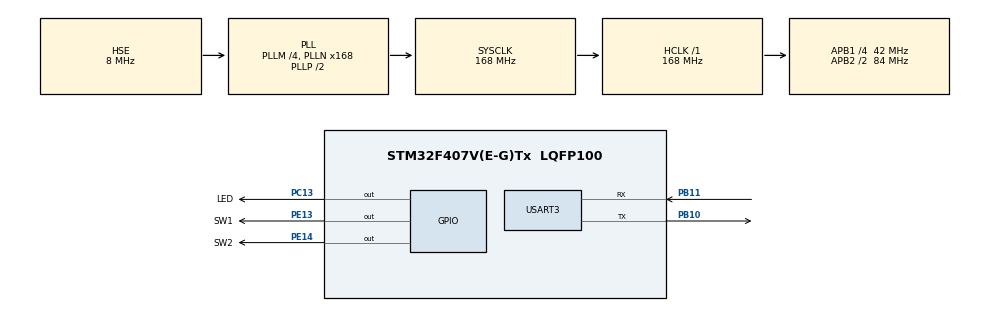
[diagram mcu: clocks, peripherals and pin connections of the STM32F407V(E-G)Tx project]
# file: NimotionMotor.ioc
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Mcu.Family=STM32F4
Mcu.Name=STM32F407V(E-G)Tx
Mcu.Package=LQFP100
NVIC.PriorityGroup=NVIC_PRIORITYGROUP_4
NVIC.TIM6_DAC_IRQn=true\:3\:0\:true\:false\:true\:true\:true\:true
NVIC.TIM7_IRQn=true\:2\:0\:true\:false\:true\:true\:true\:true
NVIC.USART3_IRQn=true\:1\:0\:true\:false\:true\:true\:true\:true
PA13.Mode=Serial_Wire
PA13.Signal=SYS_JTMS-SWDIO
PA14.Mode=Serial_Wire
PA14.Signal=SYS_JTCK-SWCLK
PB10.Mode=Asynchronous
PB10.Signal=USART3_TX
PB11.Mode=Asynchronous
PB11.Signal=USART3_RX
PC13-ANTI_TAMP.GPIO_Label=LED
PC13-ANTI_TAMP.GPIO_PuPd=GPIO_PULLUP
PC13-ANTI_TAMP.Signal=GPIO_Output
PE13.GPIO_Label=SW1
PE13.GPIO_PuPd=GPIO_PULLUP
PE13.Signal=GPIO_Output
PE14.GPIO_Label=SW2
PE14.GPIO_PuPd=GPIO_PULLUP
PE14.Signal=GPIO_Output
PH0-OSC_IN.Mode=HSE-External-Oscillator
PH0-OSC_IN.Signal=RCC_OSC_IN
PH1-OSC_OUT.Mode=HSE-External-Oscillator
PH1-OSC_OUT.Signal=RCC_OSC_OUT
ProjectManager.HeapSize=0x200
ProjectManager.StackSize=0x400
ProjectManager.TargetToolchain=MDK-ARM V5.32
RCC.48MHZClocksFreq_Value=84000000
RCC.AHBFreq_Value=168000000
RCC.APB1CLKDivider=RCC_HCLK_DIV4
RCC.APB1Freq_Value=42000000
RCC.APB1TimFreq_Value=84000000
RCC.APB2CLKDivider=RCC_HCLK_DIV2
RCC.APB2Freq_Value=84000000
RCC.APB2TimFreq_Value=168000000
RCC.CortexFreq_Value=168000000
RCC.HCLKFreq_Value=168000000
RCC.HSE_VALUE=8000000
RCC.HSI_VALUE=16000000
RCC.LSE_VALUE=32768
RCC.PLLM=4
RCC.PLLN=168
RCC.PLLSourceVirtual=RCC_PLLSOURCE_HSE
RCC.SYSCLKFreq_VALUE=168000000
RCC.SYSCLKSource=RCC_SYSCLKSOURCE_PLLCLK
RCC.VCOOutputFreq_Value=336000000
TIM6.AutoReloadPreload=TIM_AUTORELOAD_PRELOAD_ENABLE
TIM6.Period=1000-1
TIM6.Prescaler=84-1
TIM7.AutoReloadPreload=TIM_AUTORELOAD_PRELOAD_ENABLE
TIM7.Period=2000-1
TIM7.Prescaler=84-1
USART3.VirtualMode=VM_ASYNC
VP_TIM6_VS_ClockSourceINT.Mode=Enable_Timer
VP_TIM7_VS_ClockSourceINT.Mode=Enable_Timer
board=custom

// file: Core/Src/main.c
/* USER CODE BEGIN Header */
/**
  ******************************************************************************
  * @file           : main.c
  * @brief          : Main program body
  ******************************************************************************
  * @attention
  *
  * Copyright (c) 2023 STMicroelectronics.
  * All rights reserved.
  *
  * This software is licensed under terms that can be found in the LICENSE file
  * in the root directory of this software component.
  * If no LICENSE file comes with this software, it is provided AS-IS.
  *
  ******************************************************************************
  */
/* USER CODE END Header */
#include "main.h"
#include "tim.h"
#include "usart.h"
#include "gpio.h"

/* USER CODE BEGIN Includes */
#include "delay.h"
#include "modbus.h"
#include "nimotion.h"
#include "led.h"
/* USER CODE END Includes */

/* USER CODE BEGIN PV */
uint8_t uart3_res;
uint8_t error =0;
/* USER CODE END PV */

void SystemClock_Config(void);

int main(void)
{

  /* MCU Configuration--------------------------------------------------------*/

  /* Reset of all peripherals, Initializes the Flash interface and the Systick. */
  HAL_Init();

  /* Configure the system clock */
  SystemClock_Config();

  /* USER CODE BEGIN SysInit */
	delay_init(168);
  /* USER CODE END SysInit */

  /* Initialize all configured peripherals */
  MX_GPIO_Init();
  MX_USART3_UART_Init();
  MX_TIM6_Init();
  MX_TIM7_Init();
  /* USER CODE BEGIN 2 */
	HAL_TIM_Base_Start_IT(&htim6);
	HAL_TIM_Base_Start_IT(&htim7);
	HAL_UART_Receive_IT(&huart3,&uart3_res,1);
  /* USER CODE END 2 */

  /* Infinite loop */
  /* USER CODE BEGIN WHILE */
	uint16_t temp = 0;

	int32_t tagvelocity = 0;
	uint8_t nAddr = 0x03;
	NiM_clearErrorState(nAddr);            //故障状态清除
	NiM_clearErrorState(nAddr+1);
	delay_ms(10);
	NiM_powerOff(nAddr);
	NiM_powerOff(nAddr+1);
	delay_ms(10);

	error = NiM_changeWorkMode(nAddr,VELOCITY_MODE);////设置为速度模式
	error = NiM_changeWorkMode(nAddr+1,VELOCITY_MODE);////设置为速度模式
	delay_ms(50);

	delay_ms(10);
	error = NiM_powerOn(nAddr);
	error = NiM_powerOn(nAddr+1);
	delay_ms(10);	//使能电机
	tagvelocity = 100;//100000/10000*60=600rpm
	error = NiM_moveVelocity(nAddr,tagvelocity);//电机以600rpm正转.
	NiM_moveVelocity(nAddr+1,tagvelocity);//电机以600rpm正转
	delay_ms(1000);
	delay_ms(1000);
	delay_ms(1000);
	delay_ms(1000);
	delay_ms(1000);
	tagvelocity = -100;//-600rpm
	NiM_moveVelocity(nAddr,tagvelocity);//电机以600rpm反转
	NiM_moveVelocity(nAddr+1,tagvelocity);//电机以600rpm正转
	delay_ms(1000);
	delay_ms(1000);
	delay_ms(1000);
	delay_ms(1000);
	delay_ms(1000);
	tagvelocity = 500;//1200rpm
	NiM_moveVelocity(nAddr,tagvelocity);//电机正1200rpm正转
	NiM_moveVelocity(nAddr+1,tagvelocity);//电机以600rpm正转

	delay_ms(1000);
	NiM_moveVelocity(nAddr,0);//电机正1200rpm正转
	NiM_powerOff(nAddr);
	NiM_moveVelocity(nAddr+1,0);//电机正1200rpm正转
	NiM_powerOff(nAddr+1);
//	uint8_t error;
//	NiM_powerOff(nAddr);
//	temp = 0x06;
//	//601 2B 40 60 00 06 00 00 00  使电机准备
//	error = NiM_writeParam(nAddr,0x51,(uint8_t *)&temp,2);
//	if (error !=0)
//		return error;
//	temp = 0x07;
//	//601 2B 40 60 00 07 00 00 00 使电机失能
//	error = NiM_writeParam(nAddr,0x51,(uint8_t *)(&temp),2);
//	if (error !=0)
//		return error;
//	temp = 0x0F;
//	//601 2B 40 60 00 0F 00 00 00 使电机使能
//	error = NiM_writeParam(nAddr,0x51,(uint8_t *)(&temp),2);
//	if (error !=0)
//		return error;
  while (1)
  {
    /* USER CODE END WHILE */

    /* USER CODE BEGIN 3 */
//		Led_Flash(2);
//		delay_ms(200);
  }
  /* USER CODE END 3 */
}

void SystemClock_Config(void)
{
  RCC_OscInitTypeDef RCC_OscInitStruct = {0};
  RCC_ClkInitTypeDef RCC_ClkInitStruct = {0};

  /** Configure the main internal regulator output voltage
  */
  __HAL_RCC_PWR_CLK_ENABLE();
  __HAL_PWR_VOLTAGESCALING_CONFIG(PWR_REGULATOR_VOLTAGE_SCALE1);

  /** Initializes the RCC Oscillators according to the specified parameters
  * in the RCC_OscInitTypeDef structure.
  */
  RCC_OscInitStruct.OscillatorType = RCC_OSCILLATORTYPE_HSE;
  RCC_OscInitStruct.HSEState = RCC_HSE_ON;
  RCC_OscInitStruct.PLL.PLLState = RCC_PLL_ON;
  RCC_OscInitStruct.PLL.PLLSource = RCC_PLLSOURCE_HSE;
  RCC_OscInitStruct.PLL.PLLM = 4;
  RCC_OscInitStruct.PLL.PLLN = 168;
  RCC_OscInitStruct.PLL.PLLP = RCC_PLLP_DIV2;
  RCC_OscInitStruct.PLL.PLLQ = 4;
  if (HAL_RCC_OscConfig(&RCC_OscInitStruct) != HAL_OK)
  {
    Error_Handler();
  }

  /** Initializes the CPU, AHB and APB buses clocks
  */
  RCC_ClkInitStruct.ClockType = RCC_CLOCKTYPE_HCLK|RCC_CLOCKTYPE_SYSCLK
                              |RCC_CLOCKTYPE_PCLK1|RCC_CLOCKTYPE_PCLK2;
  RCC_ClkInitStruct.SYSCLKSource = RCC_SYSCLKSOURCE_PLLCLK;
  RCC_ClkInitStruct.AHBCLKDivider = RCC_SYSCLK_DIV1;
  RCC_ClkInitStruct.APB1CLKDivider = RCC_HCLK_DIV4;
  RCC_ClkInitStruct.APB2CLKDivider = RCC_HCLK_DIV2;

  if (HAL_RCC_ClockConfig(&RCC_ClkInitStruct, FLASH_LATENCY_5) != HAL_OK)
  {
    Error_Handler();
  }
}

/* USER CODE BEGIN 4 */
void HAL_TIM_PeriodElapsedCallback(TIM_HandleTypeDef *htim)
{
	//1ms
	if(htim->Instance == htim6.Instance)
	{
		timer6_cnt++;
		Led_Flash(500);
	}
	//2ms
	if(htim->Instance == htim7.Instance)
	{
		RTU_FLAG=1;
		HAL_TIM_Base_Stop_IT(&htim7);
	}
}
void HAL_UART_RxCpltCallback(UART_HandleTypeDef *huart)
{

 	if(huart->Instance == huart3.Instance) //接收到数据
	{

		HAL_UART_Receive_IT(&huart3,&uart3_res,1); 	//读取接收到的数据
		if(RS485_RX_CNT<64)
		{
			RS485_RX_BUF[RS485_RX_CNT]=uart3_res;		//记录接收到的值
			RS485_RX_CNT++;						//接收数据增加1
			__HAL_TIM_SET_COUNTER(&htim7,0);
			HAL_TIM_Base_Start_IT(&htim7);
		}
		else RS485_RX_CNT=0;
	}
	/* BEGIN:   PN:1 */
	/* END:   PN:1 */
}
/* USER CODE END 4 */

void Error_Handler(void)
{
  __disable_irq();
  while (1)
  {
  }
}
